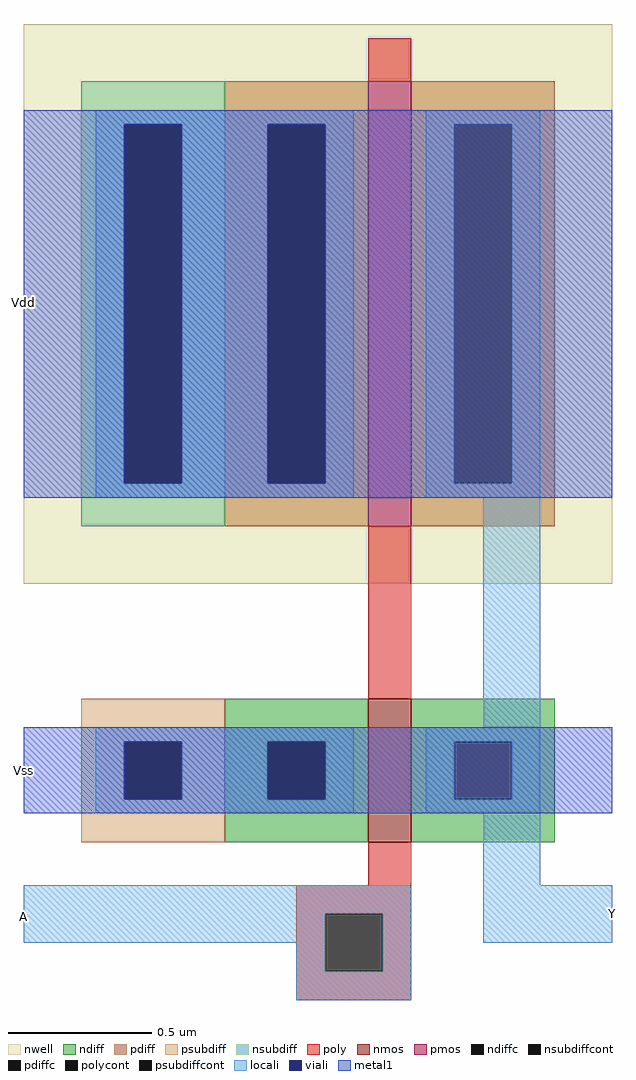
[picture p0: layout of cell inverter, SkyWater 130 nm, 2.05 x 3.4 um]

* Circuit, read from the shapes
.subckt inverter A Vss Vdd Y
XM1 Y A Vss Vss sky130_fd_pr__nfet_01v8 w=0.5 l=0.15
XM2 Y A Vdd Vdd sky130_fd_pr__pfet_01v8 w=1.55 l=0.15
.ends

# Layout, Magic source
magic
tech sky130A
<< nwell >>
rect -120 90 85 285
<< nmos >>
rect 0 0 15 50
<< pmos >>
rect 0 110 15 265
<< ndiff >>
rect -50 35 0 50
rect -50 15 -35 35
rect -15 15 0 35
rect -50 0 0 15
rect 15 35 65 50
rect 15 15 30 35
rect 50 15 65 35
rect 15 0 65 15
<< pdiff >>
rect -50 250 0 265
rect -50 125 -35 250
rect -15 125 0 250
rect -50 110 0 125
rect 15 250 65 265
rect 15 125 30 250
rect 50 125 65 250
rect 15 110 65 125
<< ndiffc >>
rect -35 15 -15 35
rect 30 15 50 35
<< pdiffc >>
rect -35 125 -15 250
rect 30 125 50 250
<< psubdiff >>
rect -100 35 -50 50
rect -100 15 -85 35
rect -65 15 -50 35
rect -100 0 -50 15
<< nsubdiff >>
rect -100 250 -50 265
rect -100 125 -85 250
rect -65 125 -50 250
rect -100 110 -50 125
<< psubdiffcont >>
rect -85 15 -65 35
<< nsubdiffcont >>
rect -85 125 -65 250
<< poly >>
rect 0 265 15 280
rect 0 50 15 110
rect 0 -15 15 0
rect -25 -25 15 -15
rect -25 -45 -15 -25
rect 5 -45 15 -25
rect -25 -55 15 -45
<< polycont >>
rect -15 -45 5 -25
<< locali >>
rect -95 250 -5 255
rect -95 125 -85 250
rect -65 125 -35 250
rect -15 125 -5 250
rect -95 120 -5 125
rect 20 250 60 255
rect 20 125 30 250
rect 50 125 60 250
rect 20 120 60 125
rect 40 40 60 120
rect -95 35 -5 40
rect -95 15 -85 35
rect -65 15 -35 35
rect -15 15 -5 35
rect -95 10 -5 15
rect 20 35 60 40
rect 20 15 30 35
rect 50 15 60 35
rect 20 10 60 15
rect 40 -15 60 10
rect -120 -25 15 -15
rect -120 -35 -15 -25
rect -25 -45 -15 -35
rect 5 -45 15 -25
rect 40 -35 85 -15
rect -25 -55 15 -45
<< viali >>
rect -85 125 -65 250
rect -35 125 -15 250
rect -85 15 -65 35
rect -35 15 -15 35
<< metal1 >>
rect -120 250 85 255
rect -120 125 -85 250
rect -65 125 -35 250
rect -15 125 85 250
rect -120 120 85 125
rect -120 35 85 40
rect -120 15 -85 35
rect -65 15 -35 35
rect -15 15 85 35
rect -120 10 85 15
<< labels >>
rlabel locali -120 -26 -120 -26 7 A
port 1 w
rlabel metal1 -120 25 -120 25 7 Vss
port 2 w
rlabel metal1 -120 188 -120 188 7 Vdd
port 3 w
rlabel locali 85 -25 85 -25 3 Y
port 4 e
<< end >>
